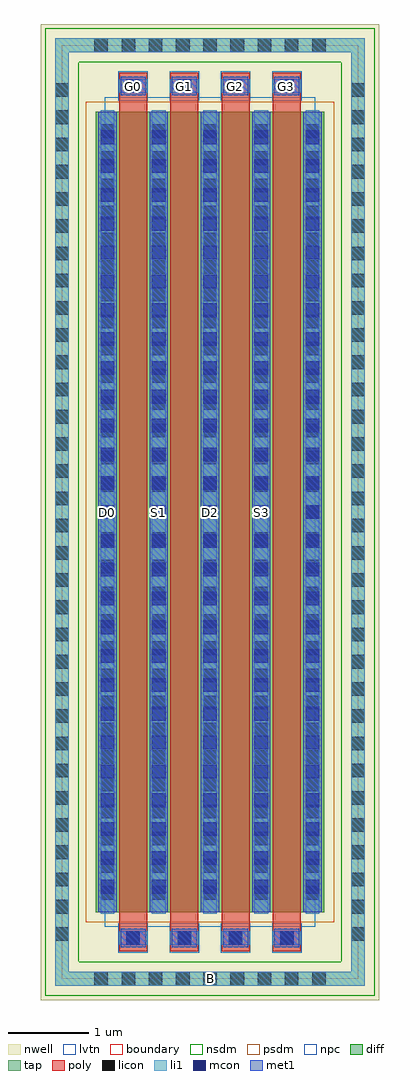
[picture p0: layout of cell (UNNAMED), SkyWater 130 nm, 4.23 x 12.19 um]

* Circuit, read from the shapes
.subckt (UNNAMED) B D0 D2 G0 G1 G2 G3 S1 S3
XM1 S1 G0 D0 B sky130_fd_pr__pfet_01v8_lvt w=10 l=0.35
XM2 D2 G1 S1 B sky130_fd_pr__pfet_01v8_lvt w=10 l=0.35
XM3 S3 G2 D2 B sky130_fd_pr__pfet_01v8_lvt w=10 l=0.35
XM4 n1 G3 S3 B sky130_fd_pr__pfet_01v8_lvt w=10 l=0.35
.ends

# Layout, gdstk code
import gdstk
lib = gdstk.Library(unit=1e-6, precision=1e-09)
def R(c, l, rs):  # rectangles x0, y0, x1, y1
    for r in rs: c.add(gdstk.rectangle(r[:2], r[2:], *l))
def A(c, l, x, y, w, h, nx, ny, dx, dy):  # array of equal rectangles
    R(c, l, [(x+i*dx, y+j*dy, x+i*dx+w, y+j*dy+h) for i in range(nx) for j in range(ny)])
nwell = (64, 20)
diff = (65, 20)
tap = (65, 44)
poly = (66, 20)
licon = (66, 44)
li1 = (67, 20)
mcon = (67, 44)
met1 = (68, 20)
nsdm = (93, 44)
psdm = (94, 20)
npc = (95, 20)
lvtn = (125, 44)
boundary = (235, 4)

c__unnamed_ = lib.new_cell('(UNNAMED)')
R(c__unnamed_, nwell, [(-2.115,-6.095,2.115,6.095)])
R(c__unnamed_, diff, [(-1.425,-5,1.425,5)])
R(c__unnamed_, tap, [(-1.935,-5.915,1.935,-5.745), (-1.935,-5.745,-1.765,5.745), (1.765,-5.745,1.935,5.745), (-1.935,5.745,1.935,5.915)])
A(c__unnamed_, poly, -1.135, -5.485, 0.35, 10.97, 4, 1, 0.64, 0)
A(c__unnamed_, licon, -1.445, -5.915, 0.17, 0.17, 9, 2, 0.34, 11.66)
A(c__unnamed_, licon, -1.045, -5.405, 0.17, 0.17, 4, 2, 0.64, 10.64)
A(c__unnamed_, licon, -1.935, -5.355, 0.17, 0.17, 1, 32, 0, 0.34)
A(c__unnamed_, licon, 1.765, -5.355, 0.17, 0.17, 1, 32, 0, 0.34)
A(c__unnamed_, licon, -1.365, -4.845, 0.17, 0.17, 5, 29, 0.64, 0.34)
A(c__unnamed_, li1, -1.135, -5.405, 0.35, 0.17, 4, 2, 0.64, 10.64)
A(c__unnamed_, li1, -1.365, -5.02, 0.17, 10.04, 5, 1, 0.64, 0)
R(c__unnamed_, li1, [(-1.935,-5.915,1.935,-5.745), (-1.935,-5.745,-1.765,5.745), (1.765,-5.745,1.935,5.745), (-1.935,5.745,1.935,5.915)])
A(c__unnamed_, mcon, -1.045, -5.405, 0.17, 0.17, 4, 2, 0.64, 10.64)
A(c__unnamed_, mcon, -1.365, -4.765, 0.17, 0.17, 5, 27, 0.64, 0.36)
A(c__unnamed_, met1, -1.115, -5.435, 0.31, 0.23, 4, 2, 0.64, 10.64)
A(c__unnamed_, met1, -1.395, -5, 0.23, 10, 5, 1, 0.64, 0)
R(c__unnamed_, nsdm, [(-2.06,-6.04,2.06,-5.62), (-2.06,-5.62,-1.64,5.62), (1.64,-5.62,2.06,5.62), (-2.06,5.62,2.06,6.04)])
R(c__unnamed_, psdm, [(-1.55,-5.125,1.55,5.125)])
A(c__unnamed_, npc, -1.145, -5.505, 0.37, 0.37, 4, 2, 0.64, 10.64)
R(c__unnamed_, lvtn, [(-1.315,-5.18,1.315,5.18)])
R(c__unnamed_, boundary, [(-1.85,-5.83,1.85,5.83)])
c__unnamed_.add(gdstk.Label('B', (0,-5.83), layer=67, texttype=5))
c__unnamed_.add(gdstk.Label('D0', (-1.28,0), layer=67, texttype=5))
c__unnamed_.add(gdstk.Label('G0', (-0.96,5.32), layer=67, texttype=5))
c__unnamed_.add(gdstk.Label('S1', (-0.64,0), layer=67, texttype=5))
c__unnamed_.add(gdstk.Label('G1', (-0.32,5.32), layer=67, texttype=5))
c__unnamed_.add(gdstk.Label('D2', (0,0), layer=67, texttype=5))
c__unnamed_.add(gdstk.Label('G2', (0.32,5.32), layer=67, texttype=5))
c__unnamed_.add(gdstk.Label('S3', (0.64,0), layer=67, texttype=5))
c__unnamed_.add(gdstk.Label('G3', (0.96,5.32), layer=67, texttype=5))

lib.write_gds('_UNNAMED_.gds')
